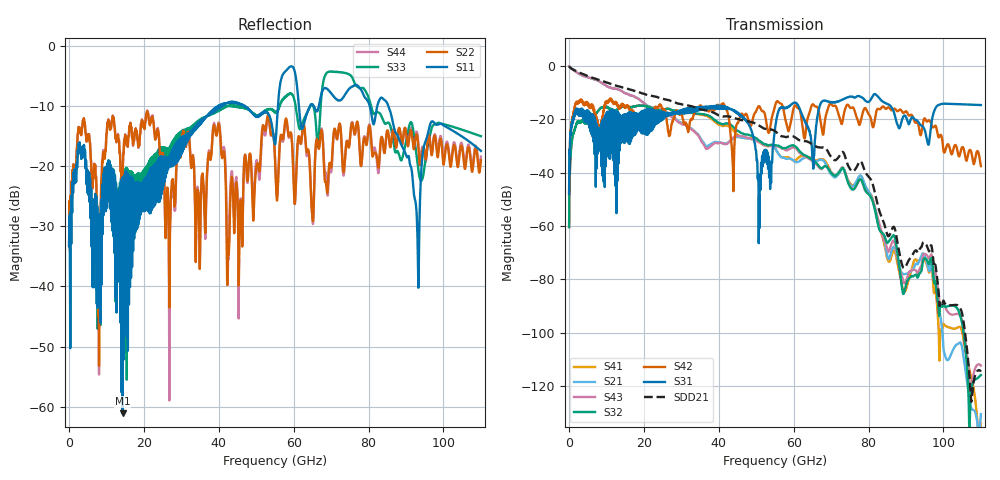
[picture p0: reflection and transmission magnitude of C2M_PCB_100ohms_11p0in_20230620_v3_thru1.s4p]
! Info: Touchstone file created by Circ.  Input file=C2M_PCB_100ohms_11p0in_20230620_v3.circ
# Hz S RI R 50
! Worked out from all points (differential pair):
!   11000 points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, 10 MHz to 110 GHz, reference 50 ohm
!   strongest paths, dB at 10 MHz, 27.51 GHz, 55.01 GHz, 82.51 GHz, 110 GHz:
!     S31: -48.1, -18.2, -23.3, -11.6, -14.7
!     S42: -48.1, -21.5, -15.1, -16.1, -37.6
!     S32: -60.4, -16.6, -29.8, -59.4, -115.8
!     S43: -0.2, -19.3, -30.1, -57.4, -112.3
!     S21: -0.2, -18.9, -30.8, -59.2, -130.5
!     S41: -60.4, -16.8, -31.0, -58.3, -134.0
!   taken as a pair (ports 3,1 in; 4,2 out), SDD21 dB: -0.2, -13.4, -24.5, -52.6, -114.6
!   lowest |S11| = -61.1 dB at 14.29 GHz (marker M1), VSWR 1.00, Z = 50 + j0.0834 ohm
!   |S11| at or under -10 dB: start of sweep to 39.86 GHz; 47 GHz to 55.78 GHz (8.778 GHz wide, 17.1 % of centre); 85.27 GHz to end of sweep (the widest 3 of 11)
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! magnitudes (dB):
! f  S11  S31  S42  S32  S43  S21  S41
! 10 MHz  -33.3  -48.1  -48.1  -60.4  -0.2  -0.2  -60.4
! 2.09 GHz  -20.1  -17.6  -14.1  -21.6  -2.5  -2.5  -21.6
! 14.29 GHz  -61.1  -27.5  -14.9  -15.2  -9.7  -9.7  -15.2
! 43.48 GHz  -9.3  -16.5  -30.8  -22.5  -27.4  -27.7  -23.6
! 50.89 GHz  -11.5  -49.5  -15.3  -28.2  -28.7  -28.4  -28.8
! 60.04 GHz  -3.8  -13.9  -15.5  -29.9  -30.6  -35.6  -35.7
! 110 GHz  -17.5  -14.7  -37.6  -115.8  -112.3  -130.5  -134.0
